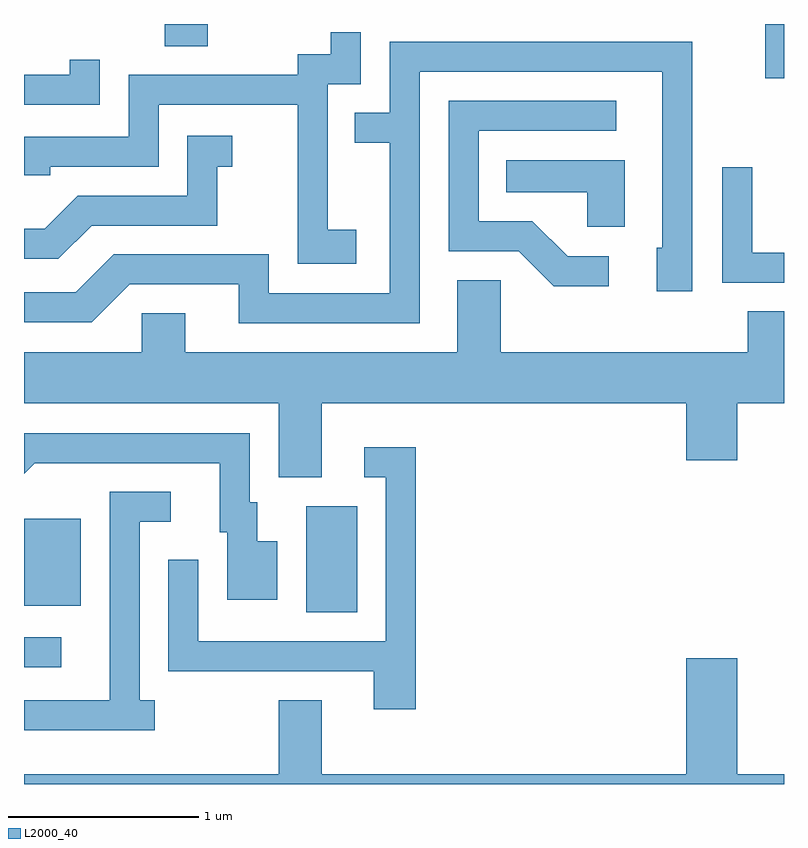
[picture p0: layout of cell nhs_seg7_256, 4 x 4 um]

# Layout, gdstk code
import gdstk
lib = gdstk.Library(unit=1e-6, precision=1e-09)
def R(c, l, rs):  # rectangles x0, y0, x1, y1
    for r in rs: c.add(gdstk.rectangle(r[:2], r[2:], *l))
def P(c, l, *ps):  # polygons
    for p in ps: c.add(gdstk.Polygon(p, *l))
L2000_40 = (2000, 40)

nhs_seg7_256 = lib.new_cell('nhs_seg7_256')
R(nhs_seg7_256, L2000_40, [(191.611,1772.866,191.808,1773.024), (193.096,1773.156,193.364,1773.714), (191.611,1773.191,191.909,1773.649), (195.511,1775.966,195.611,1776.252), (192.351,1776.136,192.579,1776.252)])
P(nhs_seg7_256, L2000_40, [(193.359,1775.169),(193.209,1775.169),(193.209,1775.936),(193.384,1775.936),(193.384,1776.208),(193.226,1776.208),(193.226,1776.094),(193.051,1776.094),(193.051,1775.984),(192.161,1775.984),(192.161,1775.659),(191.611,1775.659),(191.611,1775.456),(191.749,1775.456),(191.749,1775.501),(192.319,1775.501),(192.319,1775.826),(193.051,1775.826),(193.051,1774.991),(193.359,1774.991)],
  [(193.694,1776.001),(194.971,1776.001),(194.971,1775.074),(194.941,1775.074),(194.941,1774.846),(195.129,1774.846),(195.129,1776.159),(193.536,1776.159),(193.536,1775.784),(193.353,1775.784),(193.353,1775.626),(193.536,1775.626),(193.536,1774.834),(192.899,1774.834),(192.899,1775.039),(192.084,1775.039),(191.884,1774.839),(191.611,1774.839),(191.611,1774.681),(191.967,1774.681),(192.167,1774.881),(192.741,1774.881),(192.741,1774.676),(193.694,1774.676)],
  [(192.009,1776.063),(191.851,1776.063),(191.851,1775.984),(191.611,1775.984),(191.611,1775.826),(192.009,1775.826)],
  [(194.688,1775.029),(194.472,1775.029),(194.287,1775.214),(194.004,1775.214),(194.004,1775.691),(194.728,1775.691),(194.728,1775.849),(193.846,1775.849),(193.846,1775.056),(194.214,1775.056),(194.399,1774.871),(194.688,1774.871)],
  [(191.967,1775.191),(192.629,1775.191),(192.629,1775.501),(192.708,1775.501),(192.708,1775.664),(192.471,1775.664),(192.471,1775.349),(191.894,1775.349),(191.719,1775.174),(191.611,1775.174),(191.611,1775.016),(191.792,1775.016)],
  [(194.774,1775.534),(194.148,1775.534),(194.148,1775.366),(194.576,1775.366),(194.576,1775.186),(194.774,1775.186)],
  [(195.611,1775.049),(195.444,1775.049),(195.444,1775.498),(195.286,1775.498),(195.286,1774.891),(195.611,1774.891)],
  [(193.179,1774.256),(195.096,1774.256),(195.096,1773.956),(195.364,1773.956),(195.364,1774.256),(195.611,1774.256),(195.611,1774.739),(195.421,1774.739),(195.421,1774.524),(194.119,1774.524),(194.119,1774.904),(193.891,1774.904),(193.891,1774.524),(192.459,1774.524),(192.459,1774.729),(192.231,1774.729),(192.231,1774.524),(191.611,1774.524),(191.611,1774.256),(192.951,1774.256),(192.951,1773.866),(193.179,1773.866)],
  [(192.944,1773.529),(192.839,1773.529),(192.839,1773.734),(192.799,1773.734),(192.799,1774.099),(191.611,1774.099),(191.611,1773.885),(191.667,1773.941),(192.641,1773.941),(192.641,1773.576),(192.681,1773.576),(192.681,1773.221),(192.944,1773.221)],
  [(193.674,1774.024),(193.403,1774.024),(193.403,1773.866),(193.516,1773.866),(193.516,1773.004),(192.529,1773.004),(192.529,1773.433),(192.371,1773.433),(192.371,1772.846),(193.451,1772.846),(193.451,1772.646),(193.674,1772.646)],
  [(192.298,1772.694),(192.219,1772.694),(192.219,1773.631),(192.383,1773.631),(192.383,1773.789),(192.061,1773.789),(192.061,1772.694),(191.611,1772.694),(191.611,1772.536),(192.298,1772.536)],
  [(195.611,1772.304),(195.364,1772.304),(195.364,1772.914),(195.096,1772.914),(195.096,1772.304),(193.179,1772.304),(193.179,1772.694),(192.951,1772.694),(192.951,1772.304),(191.611,1772.304),(191.611,1772.252),(195.611,1772.252)])

lib.write_gds('nhs_seg7_256.gds')
